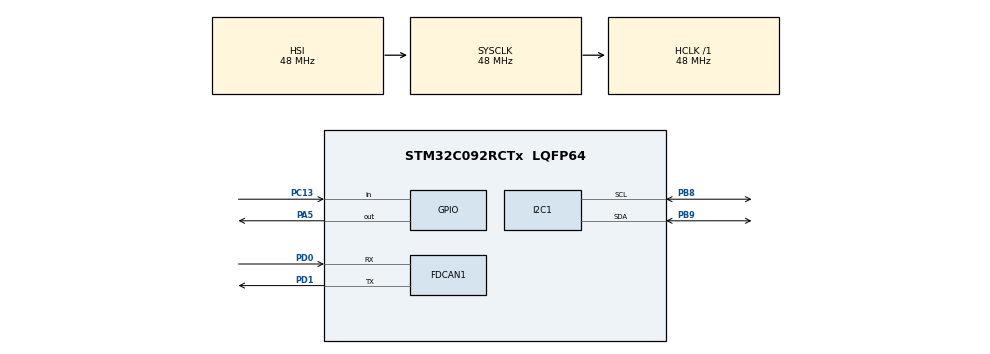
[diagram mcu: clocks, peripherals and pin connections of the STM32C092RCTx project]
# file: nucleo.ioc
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FDCAN1.AutoRetransmission=ENABLE
FDCAN1.CalculateBaudRateNominal=1000000
FDCAN1.CalculateTimeBitNominal=1000
FDCAN1.CalculateTimeQuantumNominal=20.833333333333332
FDCAN1.DataSyncJumpWidth=6
FDCAN1.DataTimeSeg1=17
FDCAN1.DataTimeSeg2=6
FDCAN1.NominalPrescaler=1
FDCAN1.NominalSyncJumpWidth=12
FDCAN1.NominalTimeSeg1=35
FDCAN1.NominalTimeSeg2=12
FDCAN1.StdFiltersNbr=1
FDCAN1.TransmitPause=ENABLE
I2C1.Timing=0x10805D88
Mcu.Family=STM32C0
Mcu.Name=STM32C092RCTx
Mcu.Package=LQFP64
NUCLEO-C092RC.BUTTON=1
NUCLEO-C092RC.LD1=true
NUCLEO-C092RC.LD2=true
NUCLEO-C092RC.VCP=true
NVIC.EXTI4_15_IRQn=true\:0\:0\:false\:false\:true\:false\:true\:true
NVIC.FDCAN1_IT0_IRQn=true\:0\:0\:false\:false\:true\:true\:true\:true
PA13.GPIO_Label=SWDIO
PA13.Signal=DEBUG_SWDIO
PA14-BOOT0.GPIO_Label=SWCLK
PA14-BOOT0.Signal=DEBUG_SWCLK
PA2.Signal=USART2_TX
PA3.Signal=USART2_RX
PA5.Signal=GPIO_Output
PB8.Mode=I2C
PB8.Signal=I2C1_SCL
PB9.Mode=I2C
PB9.Signal=I2C1_SDA
PC13.Signal=GPIO_Input
PC14-OSCX_IN(PC14).GPIO_Label=OSCX_IN
PC14-OSCX_IN(PC14).Signal=RCC_OSCX_IN
PC15-OSCX_OUT(PC15).GPIO_Label=OSCX_OUT
PC15-OSCX_OUT(PC15).Signal=RCC_OSCX_OUT
PD0.Mode=FDCAN_Activate
PD0.Signal=FDCAN1_RX
PD1.Mode=FDCAN_Activate
PD1.Signal=FDCAN1_TX
PF0-OSC_IN(PF0).GPIO_Label=OSC_IN
PF0-OSC_IN(PF0).Signal=RCC_OSC_IN
PF1-OSC_OUT(PF1).GPIO_Label=OSC_OUT
PF1-OSC_OUT(PF1).Signal=RCC_OSC_OUT
ProjectManager.HeapSize=0x200
ProjectManager.StackSize=0x400
ProjectManager.TargetToolchain=STM32CubeIDE
RCC.ADCFreq_Value=48000000
RCC.AHBFreq_Value=48000000
RCC.CortexFreq_Value=48000000
RCC.EXTERNAL_CLOCK_VALUE=12288000
RCC.HCLKFreq_Value=48000000
RCC.HSE_VALUE=8000000
RCC.HSISYSCLKDivider=RCC_HSI_DIV1
RCC.HSI_VALUE=48000000
RCC.LSE_VALUE=32768
RCC.SYSCLKFreq_VALUE=48000000
VP_NUCLEO-C092RC_VS_BSP_COMMON.Mode=COMMON
board=NUCLEO-C092RC

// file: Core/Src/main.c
/* USER CODE BEGIN Header */
/**
  ******************************************************************************
  * @file           : main.c
  * @brief          : Main program body
  ******************************************************************************
  * @attention
  *
  * Copyright (c) 2026 STMicroelectronics.
  * All rights reserved.
  *
  * This software is licensed under terms that can be found in the LICENSE file
  * in the root directory of this software component.
  * If no LICENSE file comes with this software, it is provided AS-IS.
  *
  ******************************************************************************
  */
/* USER CODE END Header */
#include "main.h"

/* USER CODE BEGIN PD */
#define TX_ID_1          (0x001)   /* TX CAN message identifier    */
#define TX_ID_2          (0x002)   /* TX CAN message identifier    */
#define RX_ID          (0x444)   /* RX CAN message identifier    */
/* USER CODE END PD */

/* USER CODE BEGIN PM */
#define COUNTOF(BUFFER) (sizeof((BUFFER)) / sizeof(*(BUFFER)))
/* USER CODE END PM */

COM_InitTypeDef BspCOMInit;

FDCAN_HandleTypeDef hfdcan1;

I2C_HandleTypeDef hi2c1;

/* USER CODE BEGIN PV */
FDCAN_RxHeaderTypeDef rxHeader;
FDCAN_TxHeaderTypeDef txHeader;
uint8_t rxData[2U];
//static const uint8_t txData[] = {0xAB, 0xCD};;
//static uint8_t txData[16] = {0};
static uint8_t txData[8] = {0};
static const uint8_t STCC4_addr = 0x65<< 1;
uint8_t tx_buffer_stcc4_continuous[2] = {0x21, 0x8B};
uint8_t tx_buffer_stcc4_read[2] = {0xEC, 0x05};
uint8_t rx_buffer_STCC4[12];
static const uint8_t MPLRS_addr = 0x18 << 1;
uint8_t tx_buffer_pressure[3] = {0xAA, 0x00, 0x00};
uint8_t rx_buffer_pressure[4];
uint32_t pressure_raw = 0;
float pressure = 0;
int16_t co2 = 0;
float tempC = 0;
float humPercent = 0;

HAL_StatusTypeDef hret;

/* USER CODE END PV */

void SystemClock_Config(void);
static void MX_GPIO_Init(void);
static void MX_FDCAN1_Init(void);
static void MX_I2C1_Init(void);
void can_bus(void);
void co2_read(void);
void pressure_read(void);

int main(void)
{

  /* MCU Configuration--------------------------------------------------------*/

  /* Reset of all peripherals, Initializes the Flash interface and the Systick. */
  HAL_Init();

  /* Configure the system clock */
  SystemClock_Config();

  /* USER CODE BEGIN SysInit */
  /* Configure LED1 and LED2 */
  BSP_LED_Init(LED1);
  BSP_LED_Init(LED2);

  /* Configure User push-button in interrupt mode */
  //BSP_PB_Init(BUTTON_USER, BUTTON_MODE_EXTI);

  /* USER CODE END SysInit */

  /* Initialize all configured peripherals */
  MX_GPIO_Init();
  MX_FDCAN1_Init();
  MX_I2C1_Init();
  /* USER CODE BEGIN 2 */

  /* Configure reception filter to Rx FIFO 0 */
  FDCAN_FilterTypeDef        sFilterConfig;
  sFilterConfig.IdType       = FDCAN_STANDARD_ID;
  sFilterConfig.FilterIndex  = 0U;
  sFilterConfig.FilterType   = FDCAN_FILTER_MASK;
  sFilterConfig.FilterConfig = FDCAN_FILTER_TO_RXFIFO0;
  sFilterConfig.FilterID1    = TX_ID_1;
  sFilterConfig.FilterID2    = 0x7FF;
  if (HAL_FDCAN_ConfigFilter(&hfdcan1, &sFilterConfig) != HAL_OK)
  {
    Error_Handler();
  }

  /**
    *  Configure global filter:
    *    - Filter all remote frames with STD and EXT ID
    *    - Reject non matching frames with STD ID and EXT ID
    */
  if (HAL_FDCAN_ConfigGlobalFilter(&hfdcan1,
                                   FDCAN_REJECT, FDCAN_REJECT,
                                   FDCAN_FILTER_REMOTE, FDCAN_FILTER_REMOTE) != HAL_OK)
  {
    Error_Handler();
  }

  /* Activate Rx FIFO 0 new message notification */
  if (HAL_FDCAN_ActivateNotification(&hfdcan1, FDCAN_IT_RX_FIFO0_NEW_MESSAGE, 0U) != HAL_OK)
  {
    Error_Handler();
  }

  /* Prepare Tx message Header */
  txHeader.IdType              = FDCAN_STANDARD_ID;
  txHeader.TxFrameType         = FDCAN_DATA_FRAME;
  txHeader.DataLength          = FDCAN_DLC_BYTES_8; //_16 for  fdcan frame
  txHeader.ErrorStateIndicator = FDCAN_ESI_ACTIVE;
  txHeader.BitRateSwitch       = FDCAN_BRS_OFF;
  txHeader.FDFormat            = FDCAN_CLASSIC_CAN;
  txHeader.TxEventFifoControl  = FDCAN_NO_TX_EVENTS;
  txHeader.MessageMarker       = 0U;

  /* Start FDCAN controller */
  if (HAL_FDCAN_Start(&hfdcan1) != HAL_OK)
  {
    Error_Handler();
  }

  /* USER CODE END 2 */

  /* Initialize leds */
  BSP_LED_Init(LED_GREEN);
  BSP_LED_Init(LED_BLUE);

  /* Initialize USER push-button, will be used to trigger an interrupt each time it's pressed.*/
  BSP_PB_Init(BUTTON_USER, BUTTON_MODE_EXTI);

  /* Initialize COM1 port (115200, 8 bits (7-bit data + 1 stop bit), no parity */
  BspCOMInit.BaudRate   = 115200;
  BspCOMInit.WordLength = COM_WORDLENGTH_8B;
  BspCOMInit.StopBits   = COM_STOPBITS_1;
  BspCOMInit.Parity     = COM_PARITY_NONE;
  BspCOMInit.HwFlowCtl  = COM_HWCONTROL_NONE;
  if (BSP_COM_Init(COM1, &BspCOMInit) != BSP_ERROR_NONE)
  {
    Error_Handler();
  }

  /* Infinite loop */
  /* USER CODE BEGIN WHILE */

  hret = HAL_I2C_Master_Transmit(&hi2c1, STCC4_addr, tx_buffer_stcc4_read, 2, 1000);
  if (hret != HAL_OK) {
	  Error_Handler();
  	return -1;
  }

  HAL_Delay(1000);
  while (1)
  {
	  co2_read();
	  pressure_read();
	  can_bus();
	  //I2C_Scan();
	  HAL_Delay(1000);
  }
}

void I2C_Scan(void)
{
	  uint8_t found_address = 0;
	  uint8_t count = 0;

	  for (uint8_t i = 1; i < 128; i++)
	  {
	    HAL_StatusTypeDef ret = HAL_I2C_IsDeviceReady(&hi2c1, (uint16_t)(i << 1), 3, 5);
	    if (ret == HAL_OK)
	    {
	      found_address = i;
	      count++;
	    }
	  }

	  // Set global only if exactly one found
}

void can_bus(void)
{
	txHeader.Identifier          = TX_ID_1;
    /* Turn LED1 off before transmission */
    BSP_LED_Off(LED1);
    memcpy(txData, &co2, sizeof(int16_t));    // Bytes 0-1: int16_t
    memcpy(txData + 2, &tempC, sizeof(float));     // Bytes 2-5: float 1
    if (HAL_FDCAN_AddMessageToTxFifoQ(&hfdcan1, &txHeader, txData) != HAL_OK)
    {
      Error_Handler();
    }
    txHeader.Identifier          = TX_ID_2;

    memcpy(txData, &humPercent, sizeof(float));     // Bytes 6-9: float 2
    memcpy(txData + 4, &pressure, sizeof(float));    // Bytes 10-13: float 3
    if (HAL_FDCAN_AddMessageToTxFifoQ(&hfdcan1, &txHeader, txData) != HAL_OK)
    {
      Error_Handler();
    }
    /* Add message to TX FIFO */
    /* Optional: Toggle LED2 to indicate transmission */
    BSP_LED_Toggle(LED2);
}

void co2_read(void)
{
    hret = HAL_I2C_Master_Transmit(&hi2c1, STCC4_addr, tx_buffer_stcc4_continuous, 2, 1000);
    if (hret != HAL_OK) {
    }
    HAL_Delay(50);
    hret = HAL_I2C_Master_Receive(&hi2c1, STCC4_addr, rx_buffer_STCC4, 12, 1000);
    if (hret != HAL_OK) {
    }

    co2 = (rx_buffer_STCC4[0] << 8) | rx_buffer_STCC4[1];
    tempC = -45.0f + 175.0f * ((float)((rx_buffer_STCC4[3] << 8) | rx_buffer_STCC4[4]) / 65535.0f);
    humPercent = 100.0f * (((rx_buffer_STCC4[6] << 8) | rx_buffer_STCC4[7]) / 65535.0f);
}

void pressure_read(){
    hret = HAL_I2C_Master_Transmit(&hi2c1, MPLRS_addr, tx_buffer_pressure, 3, 1000);
    if (hret != HAL_OK) {
    	Error_Handler();
    }

	hret = HAL_I2C_Master_Receive(&hi2c1, MPLRS_addr, rx_buffer_pressure, 4, 1000);
	if (hret != HAL_OK) {
		Error_Handler();
	}
	// Status is in rx[0], 24-bit counts are rx[1..3]
	/* Assemble 3-byte pressure into 32-bit */
	pressure_raw = ((uint32_t)rx_buffer_pressure[1] << 16) | ((uint32_t)rx_buffer_pressure[2] << 8) | (uint32_t)rx_buffer_pressure[3];
	pressure = ((pressure_raw-1677722.0f)*(25.0f-0.0f))/(15099494.0f-1677722.0f);
}

void SystemClock_Config(void)
{
  RCC_OscInitTypeDef RCC_OscInitStruct = {0};
  RCC_ClkInitTypeDef RCC_ClkInitStruct = {0};

  __HAL_FLASH_SET_LATENCY(FLASH_LATENCY_1);

  /** Initializes the RCC Oscillators according to the specified parameters
  * in the RCC_OscInitTypeDef structure.
  */
  RCC_OscInitStruct.OscillatorType = RCC_OSCILLATORTYPE_HSI;
  RCC_OscInitStruct.HSIState = RCC_HSI_ON;
  RCC_OscInitStruct.HSIDiv = RCC_HSI_DIV1;
  RCC_OscInitStruct.HSICalibrationValue = RCC_HSICALIBRATION_DEFAULT;
  if (HAL_RCC_OscConfig(&RCC_OscInitStruct) != HAL_OK)
  {
    Error_Handler();
  }

  /** Initializes the CPU, AHB and APB buses clocks
  */
  RCC_ClkInitStruct.ClockType = RCC_CLOCKTYPE_HCLK|RCC_CLOCKTYPE_SYSCLK
                              |RCC_CLOCKTYPE_PCLK1;
  RCC_ClkInitStruct.SYSCLKSource = RCC_SYSCLKSOURCE_HSI;
  RCC_ClkInitStruct.SYSCLKDivider = RCC_SYSCLK_DIV1;
  RCC_ClkInitStruct.AHBCLKDivider = RCC_HCLK_DIV1;
  RCC_ClkInitStruct.APB1CLKDivider = RCC_APB1_DIV1;

  if (HAL_RCC_ClockConfig(&RCC_ClkInitStruct, FLASH_LATENCY_1) != HAL_OK)
  {
    Error_Handler();
  }
}

static void MX_FDCAN1_Init(void)
{

  hfdcan1.Instance = FDCAN1;
  hfdcan1.Init.ClockDivider = FDCAN_CLOCK_DIV1;
  hfdcan1.Init.FrameFormat = FDCAN_FRAME_CLASSIC;
  hfdcan1.Init.Mode = FDCAN_MODE_NORMAL;
  hfdcan1.Init.AutoRetransmission = ENABLE;
  hfdcan1.Init.TransmitPause = ENABLE;
  hfdcan1.Init.ProtocolException = DISABLE;
  hfdcan1.Init.NominalPrescaler = 1;
  hfdcan1.Init.NominalSyncJumpWidth = 12;
  hfdcan1.Init.NominalTimeSeg1 = 35;
  hfdcan1.Init.NominalTimeSeg2 = 12;
  hfdcan1.Init.DataPrescaler = 1;
  hfdcan1.Init.DataSyncJumpWidth = 6;
  hfdcan1.Init.DataTimeSeg1 = 17;
  hfdcan1.Init.DataTimeSeg2 = 6;
  hfdcan1.Init.StdFiltersNbr = 1;
  hfdcan1.Init.ExtFiltersNbr = 0;
  hfdcan1.Init.TxFifoQueueMode = FDCAN_TX_FIFO_OPERATION;
  if (HAL_FDCAN_Init(&hfdcan1) != HAL_OK)
  {
    Error_Handler();
  }

}

static void MX_I2C1_Init(void)
{

  hi2c1.Instance = I2C1;
  hi2c1.Init.Timing = 0x10805D88;
  hi2c1.Init.OwnAddress1 = 0;
  hi2c1.Init.AddressingMode = I2C_ADDRESSINGMODE_7BIT;
  hi2c1.Init.DualAddressMode = I2C_DUALADDRESS_DISABLE;
  hi2c1.Init.OwnAddress2 = 0;
  hi2c1.Init.OwnAddress2Masks = I2C_OA2_NOMASK;
  hi2c1.Init.GeneralCallMode = I2C_GENERALCALL_DISABLE;
  hi2c1.Init.NoStretchMode = I2C_NOSTRETCH_DISABLE;
  if (HAL_I2C_Init(&hi2c1) != HAL_OK)
  {
    Error_Handler();
  }

  /** Configure Analogue filter
  */
  if (HAL_I2CEx_ConfigAnalogFilter(&hi2c1, I2C_ANALOGFILTER_ENABLE) != HAL_OK)
  {
    Error_Handler();
  }

  /** Configure Digital filter
  */
  if (HAL_I2CEx_ConfigDigitalFilter(&hi2c1, 0) != HAL_OK)
  {
    Error_Handler();
  }

}

static void MX_GPIO_Init(void)
{

  /* GPIO Ports Clock Enable */
  __HAL_RCC_GPIOC_CLK_ENABLE();
  __HAL_RCC_GPIOF_CLK_ENABLE();
  __HAL_RCC_GPIOA_CLK_ENABLE();
  __HAL_RCC_GPIOD_CLK_ENABLE();
  __HAL_RCC_GPIOB_CLK_ENABLE();

}

void Error_Handler(void)
{
  __disable_irq();
  while (1)
  {
  }
}
